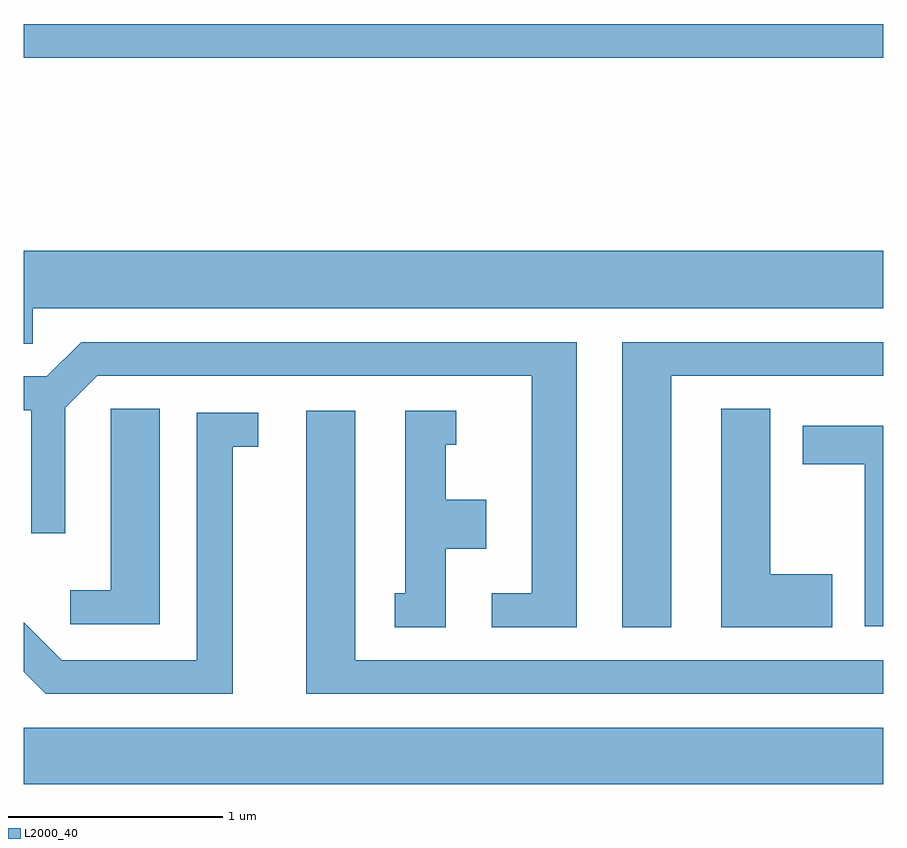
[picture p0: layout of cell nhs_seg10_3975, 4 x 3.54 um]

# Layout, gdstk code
import gdstk
lib = gdstk.Library(unit=1e-6, precision=1e-09)
def R(c, l, rs):  # rectangles x0, y0, x1, y1
    for r in rs: c.add(gdstk.rectangle(r[:2], r[2:], *l))
def P(c, l, *ps):  # polygons
    for p in ps: c.add(gdstk.Polygon(p, *l))
L2000_40 = (2000, 40)

nhs_seg10_3975 = lib.new_cell('nhs_seg10_3975')
R(nhs_seg10_3975, L2000_40, [(301.611,2180.522,305.611,2180.784), (301.611,2183.901,305.611,2184.059)])
P(nhs_seg10_3975, L2000_40, [(301.654,2182.736),(305.611,2182.736),(305.611,2183.004),(301.611,2183.004),(301.611,2182.571),(301.654,2182.571)],
  [(304.184,2182.579),(301.879,2182.579),(301.719,2182.419),(301.611,2182.419),(301.611,2182.261),(301.646,2182.261),(301.646,2181.688),(301.804,2181.688),(301.804,2182.274),(301.952,2182.421),(303.976,2182.421),(303.976,2181.409),(303.788,2181.409),(303.788,2181.251),(304.184,2181.251)],
  [(304.624,2182.421),(305.611,2182.421),(305.611,2182.579),(304.396,2182.579),(304.396,2181.251),(304.624,2181.251)],
  [(305.374,2181.499),(305.084,2181.499),(305.084,2182.269),(304.856,2182.269),(304.856,2181.251),(305.374,2181.251)],
  [(302.244,2182.269),(302.016,2182.269),(302.016,2181.424),(301.828,2181.424),(301.828,2181.266),(302.244,2181.266)],
  [(305.611,2181.099),(303.154,2181.099),(303.154,2182.259),(302.926,2182.259),(302.926,2180.941),(305.611,2180.941)],
  [(303.574,2181.616),(303.764,2181.616),(303.764,2181.844),(303.574,2181.844),(303.574,2182.101),(303.623,2182.101),(303.623,2182.259),(303.386,2182.259),(303.386,2181.409),(303.338,2181.409),(303.338,2181.251),(303.574,2181.251)],
  [(302.584,2182.091),(302.703,2182.091),(302.703,2182.249),(302.416,2182.249),(302.416,2181.099),(301.787,2181.099),(301.611,2181.275),(301.611,2181.044),(301.714,2180.941),(302.584,2180.941)],
  [(305.611,2182.189),(305.236,2182.189),(305.236,2182.011),(305.526,2182.011),(305.526,2181.256),(305.611,2181.256)])

lib.write_gds('nhs_seg10_3975.gds')
